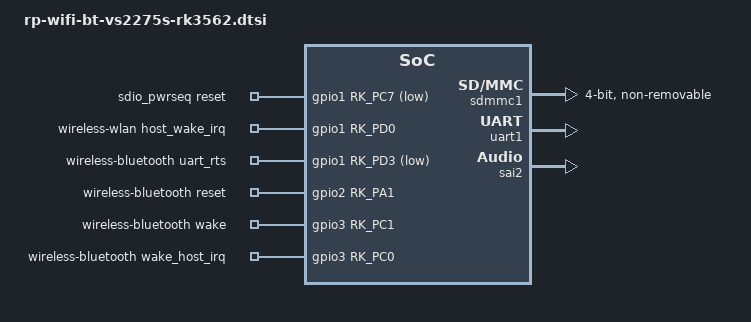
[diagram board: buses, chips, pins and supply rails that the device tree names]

/{
	sdio_pwrseq: sdio-pwrseq {
                compatible = "mmc-pwrseq-simple";
                clocks = <&rk817 1>;
                clock-names = "ext_clock";
                pinctrl-names = "default";
                pinctrl-0 = <&wifi_enable_h>;

                /*
                 * On the module itself this is one of these (depending
                 * on the actual card populated):
                 * - SDIO_RESET_L_WL_REG_ON
                 * - PDN (power down when low)
                 */
                post-power-on-delay-ms = <100>;
                reset-gpios = <&gpio1 RK_PC7 GPIO_ACTIVE_LOW>;
        };

	wireless-wlan {
                compatible = "wlan-platdata";
                rockchip,grf = <&sys_grf>;
                wifi_chip_type = "ap6275s";
                pinctrl-names = "default";
                pinctrl-0 = <&wifi_host_wake_irq>;
                WIFI,host_wake_irq = <&gpio1 RK_PD0 GPIO_ACTIVE_HIGH>;
//		WIFI,poweren_gpio = <&gpio1 RK_PC7 GPIO_ACTIVE_HIGH>;
                status = "okay";
        };

        wireless-bluetooth {
                compatible = "bluetooth-platdata";
                clocks = <&rk817 1>;
                clock-names = "ext_clock";
                //wifi-bt-power-toggle;
                uart_rts_gpios = <&gpio1 RK_PD3 GPIO_ACTIVE_LOW>;
                pinctrl-names = "default", "rts_gpio";
                pinctrl-0 = <&uart1m0_rtsn>, <&bt_gpio>;
                pinctrl-1 = <&uart1_gpios>;
                BT,reset_gpio    = <&gpio2 RK_PA1 GPIO_ACTIVE_HIGH>;
                BT,wake_gpio     = <&gpio3 RK_PC1 GPIO_ACTIVE_HIGH>;
                BT,wake_host_irq = <&gpio3 RK_PC0 GPIO_ACTIVE_HIGH>;
                status = "okay";
        };

	bt-sound {
                compatible = "simple-audio-card";
                simple-audio-card,format = "dsp_a";
                simple-audio-card,bitclock-inversion = <1>;
                simple-audio-card,mclk-fs = <256>;
                simple-audio-card,name = "rockchip,bt";
                simple-audio-card,cpu {
                        sound-dai = <&sai2>;
                };

                simple-audio-card,codec {
                        sound-dai = <&bt_sco 1>;
                };
        };

        bt_sco: bt-sco {
                compatible = "delta,dfbmcs320";
                #sound-dai-cells = <1>;
                status = "okay";
        };
};

&sdmmc1 {
        max-frequency = <150000000>;
        no-sd;
        no-mmc;
        bus-width = <4>;
        disable-wp;
        cap-sd-highspeed;
        cap-sdio-irq;
        keep-power-in-suspend;
        mmc-pwrseq = <&sdio_pwrseq>;
        non-removable;
        num-slots = <1>;
        supports-sdio;
        pinctrl-names = "default";
        pinctrl-0 = <&sdmmc1_bus4 &sdmmc1_cmd &sdmmc1_clk>;
        sd-uhs-sdr104;
        status = "okay";
//      post_power_on_delay_ms = <100>;
};

&uart1 {
	status = "okay";
	pinctrl-names = "default";
	pinctrl-0 = <&uart1m0_xfer &uart1m0_ctsn>;
};

&sai2 {
        status = "okay";
        pinctrl-names = "default";
        pinctrl-0 = <&i2s2m0_lrck
                     &i2s2m0_sclk
                     &i2s2m0_sdi
                     &i2s2m0_sdo>;
};

&pinctrl {
	wireless-wlan {
        	wifi_host_wake_irq: wifi-host-wake-irq {
            		rockchip,pins = <1 RK_PD0 RK_FUNC_GPIO &pcfg_pull_down>;
        	};
		wifi_enable_h: wifi-enable-h {
                        rockchip,pins = <1 RK_PC7 RK_FUNC_GPIO &pcfg_pull_none>;
                };
    	};

    	wireless-bluetooth {
		bt_gpio: bt-gpio {
                        rockchip,pins =
                                <2 RK_PA1 RK_FUNC_GPIO &pcfg_pull_none>,
                                <3 RK_PC1 RK_FUNC_GPIO &pcfg_pull_up>,
                                <3 RK_PC0 RK_FUNC_GPIO &pcfg_pull_down>;
                };
        	uart1_gpios: uart1-gpios {
            		rockchip,pins = <1 RK_PD3 RK_FUNC_GPIO &pcfg_pull_none>;
        	};
    	};
};
